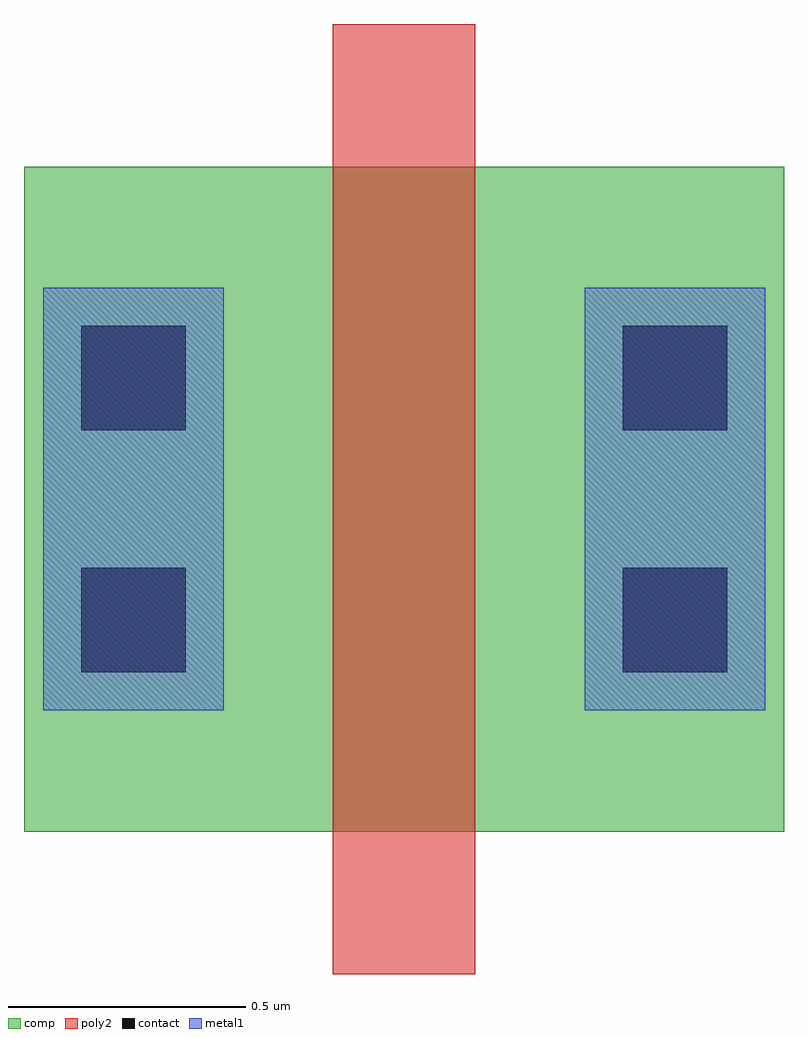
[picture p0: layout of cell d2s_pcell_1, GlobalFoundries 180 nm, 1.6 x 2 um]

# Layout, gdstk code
import gdstk
lib = gdstk.Library(unit=1e-6, precision=5e-09)
def R(c, l, rs):  # rectangles x0, y0, x1, y1
    for r in rs: c.add(gdstk.rectangle(r[:2], r[2:], *l))
comp = (22, 0)
poly2 = (30, 0)
contact = (33, 0)
metal1 = (34, 0)

d2s_pcell_1 = lib.new_cell('d2s_pcell_1')
R(d2s_pcell_1, comp, [(0,0.3,0.46,1.7), (0.46,0.3,1.14,1.7), (1.14,0.3,1.6,1.7)])
R(d2s_pcell_1, poly2, [(0.65,0,0.95,2)])
R(d2s_pcell_1, contact, [(0.12,0.635,0.34,0.855), (1.26,0.635,1.48,0.855), (0.12,1.145,0.34,1.365), (1.26,1.145,1.48,1.365)])
R(d2s_pcell_1, metal1, [(0.04,0.555,0.42,1.445), (1.18,0.555,1.56,1.445)])

lib.write_gds('d2s_pcell_1.gds')
